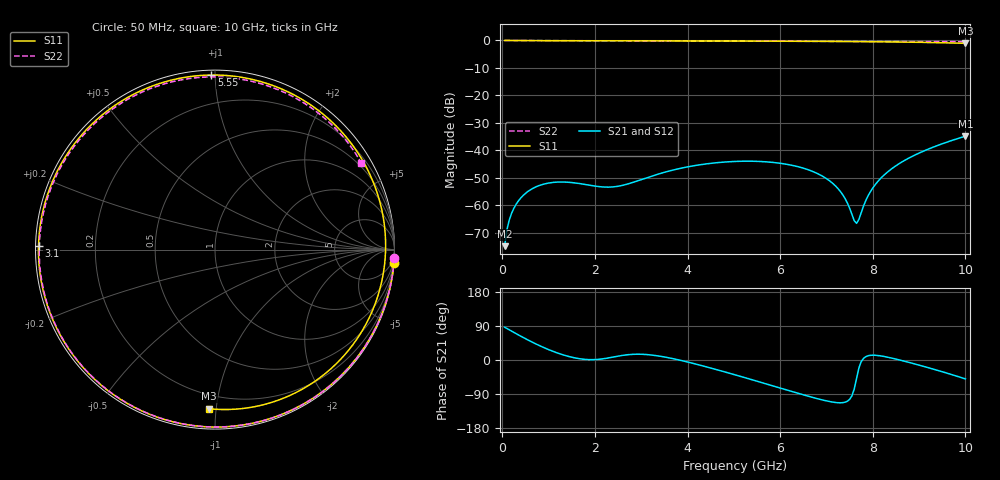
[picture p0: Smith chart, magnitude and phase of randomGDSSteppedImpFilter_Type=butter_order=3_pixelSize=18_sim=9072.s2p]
! freq	dB(S11)	phase(S11)	dB(S12)	phase(S12)
!  dB(S21)	phase(S21)	dB(S22)	phase(S22)
!S-par simulation data
#  GHz  S  DB  R 50
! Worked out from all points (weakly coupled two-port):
!   200 points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, 50 MHz to 10 GHz, reference 50 ohm
!   highest |S21| = -34.82 dB at 10 GHz (marker M1); lowest = -74.8 dB at 50 MHz (marker M2)
!   lowest |S11| = -1.0 dB at 10 GHz (marker M3), VSWR 16.76, Z = 5.74 - j47.9 ohm
!   |S11| at or under -10 dB: nowhere
!   |S22| runs from -0.5 to 0.0 dB; largest |S21 - S12| = 0
!   S11 on the Smith chart (normalised r, x): 50 MHz: 0, -27; 3.1 GHz: 0.01, +0.01; 5.55 GHz: 0.03, +0.98; 10 GHz: 0.11, -0.96
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0.05  -0.00 -4.2  -74.81 86.5  -74.81 86.5  -0.00 -2.8
0.1  -0.01 -8.5  -68.82 83.1  -68.82 83.1  -0.01 -5.5
0.2  -0.03 -16.8  -62.90 76.2  -62.90 76.2  -0.02 -11.0
0.5  -0.06 -41.2  -55.62 56.2  -55.62 56.2  -0.04 -27.1
0.75  -0.07 -60.2  -53.07 41.0  -53.07 41.0  -0.05 -40.3
1.05  -0.09 -81.3  -51.72 25.0  -51.72 25.0  -0.07 -55.4
1.75  -0.12 -122.6  -52.26 2.1  -52.26 2.1  -0.10 -87.7
2.4  -0.13 -153.2  -53.25 7.9  -53.25 7.9  -0.12 -113.7
3.1  -0.14 178.7  -50.04 14.5  -50.04 14.5  -0.14 -138.1
3.4  -0.15 167.6  -48.44 10.1  -48.44 10.1  -0.14 -147.7
4.15  -0.18 140.9  -45.52 -9.8  -45.52 -9.8  -0.17 -170.0
5.05  -0.21 109.2  -43.98 -39.9  -43.98 -39.9  -0.20 165.3
5.55  -0.24 91.2  -44.00 -57.7  -44.00 -57.7  -0.22 152.0
6.1  -0.27 70.8  -44.91 -77.6  -44.91 -77.6  -0.25 137.5
6.7  -0.31 47.6  -47.62 -98.7  -47.62 -98.7  -0.28 121.6
7.25  -0.36 25.7  -53.89 -112.8  -53.89 -112.8  -0.31 106.9
7.4  -0.38 19.6  -57.45 -111.4  -57.45 -111.4  -0.31 102.9
7.65  -0.41 9.3  -66.52 -48.1  -66.52 -48.1  -0.32 96.1
7.95  -0.45 -3.1  -54.97 12.4  -54.97 12.4  -0.34 87.9
8.35  -0.52 -19.8  -47.42 6.6  -47.42 6.6  -0.36 76.8
9.25  -0.75 -58.3  -39.16 -22.1  -39.16 -22.1  -0.41 51.6
10  -1.04 -92.1  -34.82 -49.9  -34.82 -49.9  -0.47 30.6
